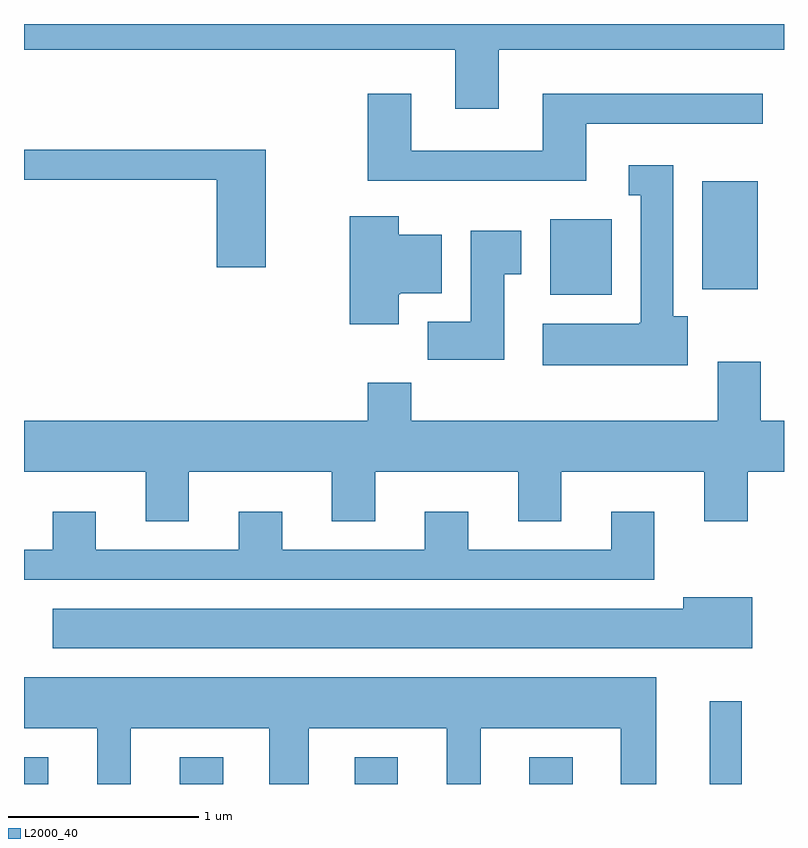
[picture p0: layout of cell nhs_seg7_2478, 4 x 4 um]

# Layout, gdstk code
import gdstk
lib = gdstk.Library(unit=1e-6, precision=1e-09)
def R(c, l, rs):  # rectangles x0, y0, x1, y1
    for r in rs: c.add(gdstk.rectangle(r[:2], r[2:], *l))
def A(c, l, x, y, w, h, nx, ny, dx, dy):  # array of equal rectangles
    R(c, l, [(x+i*dx, y+j*dy, x+i*dx+w, y+j*dy+h) for i in range(nx) for j in range(ny)])
def P(c, l, *ps):  # polygons
    for p in ps: c.add(gdstk.Polygon(p, *l))
L2000_40 = (2000, 40)

nhs_seg7_2478 = lib.new_cell('nhs_seg7_2478')
A(nhs_seg7_2478, L2000_40, 262.431, 1688.252, 0.228, 0.142, 3, 1, 0.92, 0)
R(nhs_seg7_2478, L2000_40, [(261.611,1688.252,261.739,1688.394), (265.221,1688.252,265.389,1688.688), (264.381,1690.826,264.704,1691.224), (265.181,1690.856,265.474,1691.424)])
P(nhs_seg7_2478, L2000_40, [(264.109,1692.116),(265.611,1692.116),(265.611,1692.252),(261.611,1692.252),(261.611,1692.116),(263.881,1692.116),(263.881,1691.806),(264.109,1691.806)],
  [(264.569,1691.726),(265.498,1691.726),(265.498,1691.884),(264.341,1691.884),(264.341,1691.584),(263.649,1691.584),(263.649,1691.884),(263.421,1691.884),(263.421,1691.426),(264.569,1691.426)],
  [(262.884,1691.589),(261.611,1691.589),(261.611,1691.431),(262.626,1691.431),(262.626,1690.971),(262.884,1690.971)],
  [(265.104,1690.714),(265.029,1690.714),(265.029,1691.509),(264.793,1691.509),(264.793,1691.351),(264.856,1691.351),(264.856,1690.68),(264.85,1690.68),(264.85,1690.674),(264.341,1690.674),(264.341,1690.456),(265.104,1690.456)],
  [(263.584,1690.83),(263.59,1690.83),(263.59,1690.836),(263.809,1690.836),(263.809,1691.144),(263.584,1691.144),(263.584,1691.239),(263.326,1691.239),(263.326,1690.671),(263.584,1690.671)],
  [(264.139,1690.936),(264.229,1690.936),(264.229,1691.164),(263.961,1691.164),(263.961,1690.684),(263.736,1690.684),(263.736,1690.486),(264.139,1690.486)],
  [(262.479,1689.896),(263.231,1689.896),(263.231,1689.636),(263.459,1689.636),(263.459,1689.896),(264.211,1689.896),(264.211,1689.636),(264.439,1689.636),(264.439,1689.896),(265.191,1689.896),(265.191,1689.636),(265.419,1689.636),(265.419,1689.896),(265.611,1689.896),(265.611,1690.164),(265.489,1690.164),(265.489,1690.474),(265.261,1690.474),(265.261,1690.164),(263.649,1690.164),(263.649,1690.364),(263.421,1690.364),(263.421,1690.164),(261.611,1690.164),(261.611,1689.896),(262.251,1689.896),(262.251,1689.636),(262.479,1689.636)],
  [(264.929,1689.684),(264.701,1689.684),(264.701,1689.484),(263.949,1689.484),(263.949,1689.684),(263.721,1689.684),(263.721,1689.484),(262.969,1689.484),(262.969,1689.684),(262.741,1689.684),(262.741,1689.484),(261.989,1689.484),(261.989,1689.684),(261.761,1689.684),(261.761,1689.484),(261.611,1689.484),(261.611,1689.326),(264.929,1689.326)],
  [(265.444,1689.234),(265.081,1689.234),(265.081,1689.174),(261.761,1689.174),(261.761,1688.966),(265.444,1688.966)],
  [(262.174,1688.546),(262.901,1688.546),(262.901,1688.252),(263.109,1688.252),(263.109,1688.546),(263.836,1688.546),(263.836,1688.252),(264.014,1688.252),(264.014,1688.546),(264.751,1688.546),(264.751,1688.252),(264.939,1688.252),(264.939,1688.814),(261.611,1688.814),(261.611,1688.546),(261.996,1688.546),(261.996,1688.252),(262.174,1688.252)])

lib.write_gds('nhs_seg7_2478.gds')
